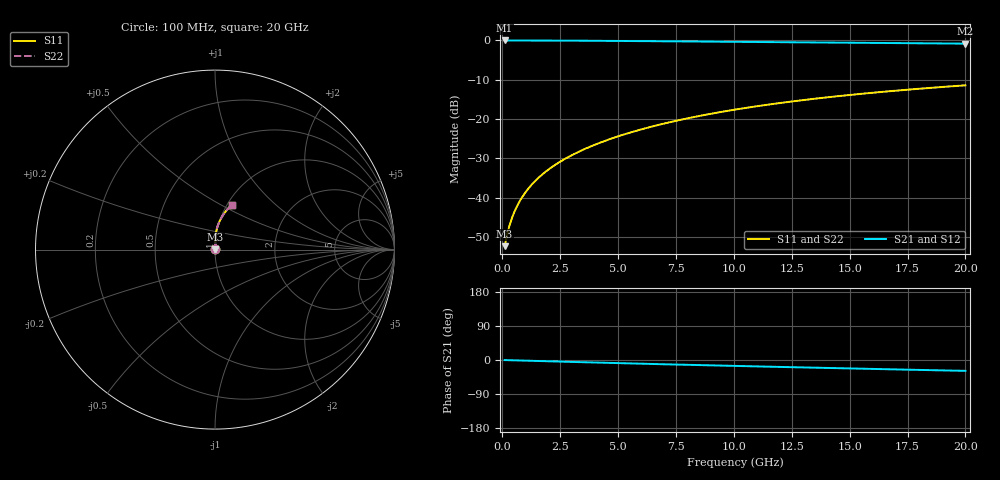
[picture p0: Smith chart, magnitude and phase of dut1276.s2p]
! Touchstone file exported from HFSS 2024.1.0
!  File:  C:/UserFiles/LocalFiles/RDL_TSV_Batchsim/temp_RDL_top_1276_1780242372.aedt
!  Generated:  11:48:44 PM May 31, 2026
!  Design:  RDL_top
!  Project:  temp_RDL_top_1276_1780242372
!  Setup:  Setup1
!  Solution:  Sweep
! Variables:
!  dtsv = 10.80580581um
!  hbump = 3um
!  htsv = 88.03um
!  ldown = 100um
!  lrdl = 387.91um
!  p = 40
!  p1 = 51.52um
!  rhole = 1um
!  t = 450um
!  tdown = 3.915915916um
!  trdl = 3.01um
!  wdown = 15.38538539um
!  wrdl = 25.54um
# GHz S MA R 50.000000
! Terminal data exported
! Port[1] = Box2_T1
! Port[2] = Box2_T2
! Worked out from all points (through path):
!   200 points, 100 MHz to 20 GHz, reference 50 ohm
!   highest |S21| = -0.02 dB at 100 MHz (marker M1); lowest = -0.8 dB at 20 GHz (marker M2)
!   group delay of S21, straight-line fit = 3.94 ps
!   lowest |S11| = -52.3 dB at 100 MHz (marker M3), VSWR 1.00, Z = 50.2 + j0.128 ohm
!   |S11| at or under -10 dB: start of sweep to end of sweep
!   |S22| runs from -52.3 to -11.4 dB; largest |S21 - S12| = 3.2e-15
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0.1  0.002426 31.8  0.9979 -0.2  0.9979 -0.2  0.002426 31.8
! Gamma 0 0 0 0
! Port Impedance 50 0 50 0
0.2  0.003308 49.3  0.9978 -0.4  0.9978 -0.4  0.003308 49.3
0.3  0.004318 58.4  0.9977 -0.5  0.9977 -0.5  0.004318 58.4
0.4  0.005352 64.0  0.9975 -0.7  0.9975 -0.7  0.005352 64.0
0.5  0.006391 67.9  0.9974 -0.9  0.9974 -0.9  0.006391 67.9
0.6  0.007437 70.8  0.9973 -1.0  0.9973 -1.0  0.007437 70.8
0.8  0.009553 74.9  0.997 -1.4  0.997 -1.4  0.009553 74.9
1.1  0.0128 78.9  0.9966 -1.9  0.9966 -1.9  0.0128 78.9
1.3  0.015 80.7  0.9963 -2.2  0.9963 -2.2  0.015 80.7
1.6  0.01835 82.7  0.9957 -2.7  0.9957 -2.7  0.01835 82.7
2.1  0.02407 84.9  0.9946 -3.6  0.9946 -3.6  0.02407 84.9
2.7  0.03114 86.5  0.9929 -4.6  0.9929 -4.6  0.03114 86.5
3.5  0.04091 87.6  0.9903 -5.9  0.9903 -5.9  0.04092 87.6
4.2  0.0498 88.1  0.9875 -7.0  0.9875 -7.0  0.0498 88.1
5  0.06031 88.2  0.9841 -8.3  0.9841 -8.3  0.06032 88.2
6.8  0.0851 87.3  0.9755 -11.0  0.9755 -11.0  0.0851 87.3
8.4  0.108 85.7  0.9675 -13.3  0.9675 -13.3  0.108 85.7
10.1  0.1326 83.5  0.9589 -15.7  0.9589 -15.7  0.1326 83.5
11.7  0.1558 81.3  0.9508 -17.9  0.9508 -17.9  0.1558 81.3
13.4  0.1801 78.8  0.9423 -20.2  0.9423 -20.2  0.1801 78.8
16.7  0.2256 73.9  0.9259 -24.5  0.9259 -24.5  0.2257 73.9
20  0.2685 69.1  0.9093 -28.7  0.9093 -28.7  0.2685 69.1
